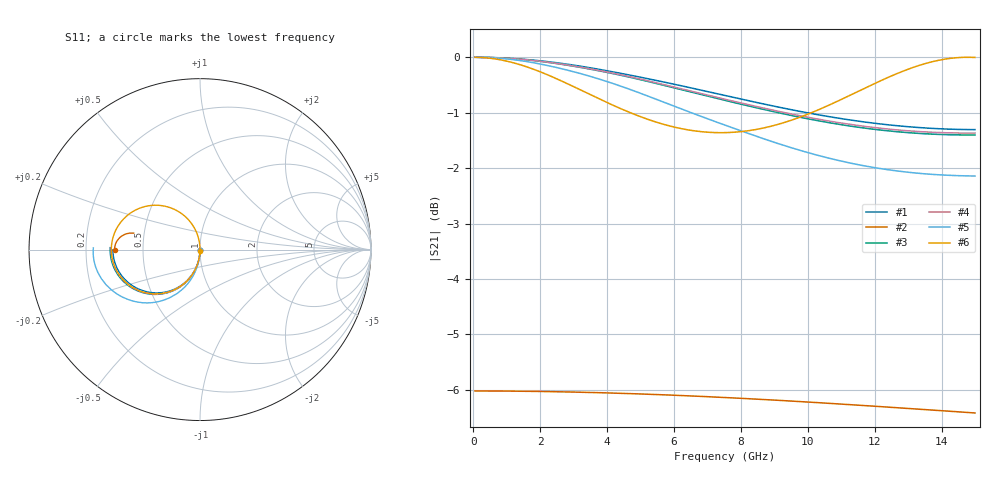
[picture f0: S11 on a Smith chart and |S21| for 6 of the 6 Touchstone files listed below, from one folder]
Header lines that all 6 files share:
! Sonnet Data File
! From: emgraph Version : 16.52
# GHZ S MA R 50.00000
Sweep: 50 MHz to 15 GHz
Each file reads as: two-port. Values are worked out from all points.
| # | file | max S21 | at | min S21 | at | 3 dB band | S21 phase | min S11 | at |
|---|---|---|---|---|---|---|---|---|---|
| 1 | Even_cfg1_bx2000y1500_cf10_w145.s2p | 0.00 dB | 50 MHz | -1.3 dB | 15 GHz | 50 MHz-15 GHz | -49 deg at 7.55 GHz | -50.2 dB | 50 MHz |
| 2 | Odd_cfg2_bx1000y2500_ct10_w145.s2p | -6.02 dB | 50 MHz | -6.4 dB | 15 GHz | 50 MHz-15 GHz | -25 deg at 7.55 GHz | -8.0 dB | 15 GHz |
| 3 | Odd_cfg3_bx2000y1500_ct10_w145.s2p | 0.00 dB | 50 MHz | -1.4 dB | 14.85 GHz | 50 MHz-15 GHz | -51 deg at 7.55 GHz | -49.7 dB | 50 MHz |
| 4 | Odd_cfg3_bx2000y3000_ct10_w145.s2p | 0.00 dB | 50 MHz | -1.4 dB | 14.85 GHz | 50 MHz-15 GHz | -50 deg at 7.55 GHz | -49.8 dB | 50 MHz |
| 5 | Odd_cfg3_bx2000y3000_ct10_w299.s2p | 0.00 dB | 50 MHz | -2.1 dB | 15 GHz | 50 MHz-15 GHz | -53 deg at 7.55 GHz | -47.5 dB | 50 MHz |
| 6 | Odd_cfg3_bx4000y3000_ct10_w145.s2p | 0.00 dB | 14.8 GHz | -1.4 dB | 7.4 GHz | 50 MHz-15 GHz | -92 deg at 7.55 GHz | -54.0 dB | 14.8 GHz |
